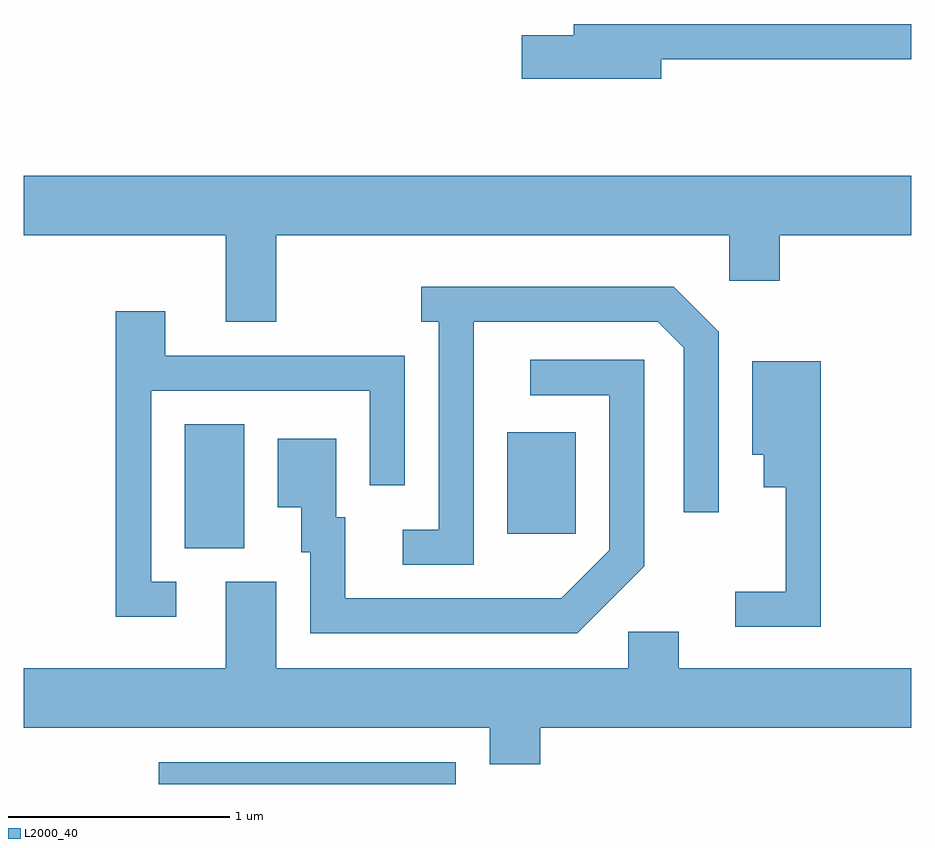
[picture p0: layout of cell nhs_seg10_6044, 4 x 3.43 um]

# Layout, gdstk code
import gdstk
lib = gdstk.Library(unit=1e-6, precision=1e-09)
def R(c, l, rs):  # rectangles x0, y0, x1, y1
    for r in rs: c.add(gdstk.rectangle(r[:2], r[2:], *l))
def P(c, l, *ps):  # polygons
    for p in ps: c.add(gdstk.Polygon(p, *l))
L2000_40 = (2000, 40)

nhs_seg10_6044 = lib.new_cell('nhs_seg10_6044')
R(nhs_seg10_6044, L2000_40, [(364.218,2142.522,365.559,2142.619), (364.336,2143.586,364.604,2144.144), (365.791,2143.651,366.099,2144.109)])
P(nhs_seg10_6044, L2000_40, [(366.484,2145.791),(367.611,2145.791),(367.611,2145.949),(366.091,2145.949),(366.091,2145.899),(365.856,2145.899),(365.856,2145.701),(366.484,2145.701)],
  [(364.749,2144.996),(366.791,2144.996),(366.791,2144.791),(367.019,2144.791),(367.019,2144.996),(367.611,2144.996),(367.611,2145.264),(363.611,2145.264),(363.611,2144.996),(364.521,2144.996),(364.521,2144.606),(364.749,2144.606)],
  [(365.639,2144.606),(366.469,2144.606),(366.586,2144.489),(366.586,2143.748),(366.744,2143.748),(366.744,2144.562),(366.542,2144.764),(365.403,2144.764),(365.403,2144.606),(365.481,2144.606),(365.481,2143.669),(365.318,2143.669),(365.318,2143.511),(365.639,2143.511)],
  [(364.298,2143.434),(364.184,2143.434),(364.184,2144.296),(365.171,2144.296),(365.171,2143.868),(365.329,2143.868),(365.329,2144.454),(364.249,2144.454),(364.249,2144.654),(364.026,2144.654),(364.026,2143.276),(364.298,2143.276)],
  [(366.409,2143.504),(366.409,2144.434),(365.893,2144.434),(365.893,2144.276),(366.251,2144.276),(366.251,2143.577),(366.034,2143.359),(365.059,2143.359),(365.059,2143.724),(365.019,2143.724),(365.019,2144.079),(364.756,2144.079),(364.756,2143.771),(364.861,2143.771),(364.861,2143.566),(364.901,2143.566),(364.901,2143.201),(366.107,2143.201)],
  [(367.204,2144.429),(366.896,2144.429),(366.896,2144.006),(366.946,2144.006),(366.946,2143.861),(367.046,2143.861),(367.046,2143.389),(366.818,2143.389),(366.818,2143.231),(367.204,2143.231)],
  [(365.939,2142.776),(367.611,2142.776),(367.611,2143.044),(366.564,2143.044),(366.564,2143.209),(366.336,2143.209),(366.336,2143.044),(364.749,2143.044),(364.749,2143.434),(364.521,2143.434),(364.521,2143.044),(363.611,2143.044),(363.611,2142.776),(365.711,2142.776),(365.711,2142.611),(365.939,2142.611)])

lib.write_gds('nhs_seg10_6044.gds')
